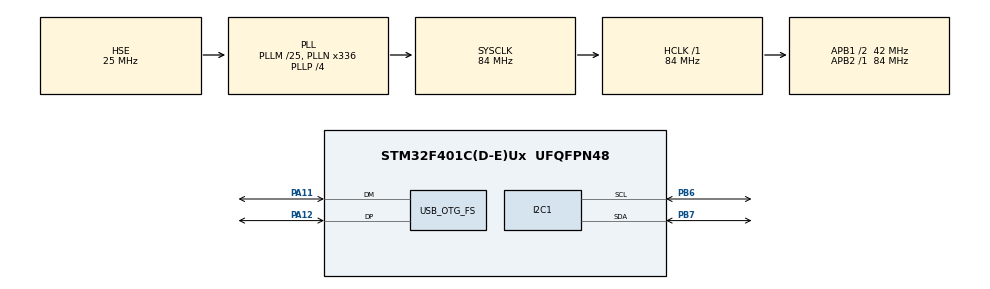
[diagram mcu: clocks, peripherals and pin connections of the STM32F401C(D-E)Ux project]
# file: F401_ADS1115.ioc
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Mcu.Family=STM32F4
Mcu.Name=STM32F401C(D-E)Ux
Mcu.Package=UFQFPN48
NVIC.OTG_FS_IRQn=true\:0\:0\:false\:false\:true\:false\:true\:true
NVIC.PriorityGroup=NVIC_PRIORITYGROUP_4
PA11.Mode=Device_Only
PA11.Signal=USB_OTG_FS_DM
PA12.Mode=Device_Only
PA12.Signal=USB_OTG_FS_DP
PB6.GPIO_Pu=GPIO_PULLUP
PB6.Mode=I2C
PB6.Signal=I2C1_SCL
PB7.GPIO_Pu=GPIO_PULLUP
PB7.Mode=I2C
PB7.Signal=I2C1_SDA
PH0\ -\ OSC_IN.Mode=HSE-External-Oscillator
PH0\ -\ OSC_IN.Signal=RCC_OSC_IN
PH1\ -\ OSC_OUT.Mode=HSE-External-Oscillator
PH1\ -\ OSC_OUT.Signal=RCC_OSC_OUT
ProjectManager.HeapSize=0x800
ProjectManager.StackSize=0x400
ProjectManager.TargetToolchain=Makefile
RCC.48MHZClocksFreq_Value=48000000
RCC.AHBFreq_Value=84000000
RCC.APB1CLKDivider=RCC_HCLK_DIV2
RCC.APB1Freq_Value=42000000
RCC.APB1TimFreq_Value=84000000
RCC.APB2Freq_Value=84000000
RCC.APB2TimFreq_Value=84000000
RCC.CortexFreq_Value=84000000
RCC.HCLKFreq_Value=84000000
RCC.HSE_VALUE=25000000
RCC.HSI_VALUE=16000000
RCC.LSE_VALUE=32768
RCC.PLLM=25
RCC.PLLN=336
RCC.PLLP=RCC_PLLP_DIV4
RCC.PLLQ=7
RCC.SYSCLKFreq_VALUE=84000000
RCC.SYSCLKSource=RCC_SYSCLKSOURCE_PLLCLK
RCC.VCOOutputFreq_Value=336000000
USB_DEVICE.CLASS_NAME_FS=CDC
USB_DEVICE.VirtualMode-CDC_FS=Cdc
USB_DEVICE.VirtualModeFS=Cdc_FS
USB_OTG_FS.VirtualMode=Device_Only
VP_USB_DEVICE_VS_USB_DEVICE_CDC_FS.Mode=CDC_FS
board=custom

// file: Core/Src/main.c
/* USER CODE BEGIN Header */
/**
  ******************************************************************************
  * @file           : main.c
  * @brief          : Main program body
  ******************************************************************************
  * @attention
  *
  * Copyright (c) 2022 STMicroelectronics.
  * All rights reserved.
  *
  * This software is licensed under terms that can be found in the LICENSE file
  * in the root directory of this software component.
  * If no LICENSE file comes with this software, it is provided AS-IS.
  *
  ******************************************************************************
  */
/* USER CODE END Header */
#include "main.h"
#include "usb_device.h"

/* USER CODE BEGIN Includes */
#include "ads1115.h"
#include "string.h"
/* USER CODE END Includes */

I2C_HandleTypeDef hi2c1;

/* USER CODE BEGIN PV */
ADS1115 adc1;
/* USER CODE END PV */

void SystemClock_Config(void);
static void MX_GPIO_Init(void);
static void MX_I2C1_Init(void);

int main(void)
{

  /* MCU Configuration--------------------------------------------------------*/

  /* Reset of all peripherals, Initializes the Flash interface and the Systick. */
  HAL_Init();

  /* Configure the system clock */
  SystemClock_Config();

  /* Initialize all configured peripherals */
  MX_GPIO_Init();
  MX_I2C1_Init();
  MX_USB_DEVICE_Init();
  /* USER CODE BEGIN 2 */
  int64_t x = 0;

  adc1.address    = 0x48 <<  1;
  adc1.opStat     = ADS1115_OS_IDLE;
  adc1.inputMux 	= ADS1115_MUX_AINP0_GND;
  adc1.fullRange  = ADS1115_PGA_FSR_4V096;
  adc1.opMode     = ADS1115_MODE_SINGLE_CONV;
  adc1.sampleRate = ADS1115_DR_8SPS;
  adc1.compMode   = ADS1115_COMP_MODE_TRADITIONAL;
  adc1.compPol	  = ADS1115_COMP_POL_ACTIVE_LOW;
  adc1.compLatch	= ADS1115_COMP_LATCH_DISABLED;
  adc1.compQue	  = ADS1115_COMP_ALERT_PIN_DISABLED;

  ADS1115_Reset(&adc1);
  ADS1115_Init(&adc1);
  uint8_t buf[25] = {0};
  /* USER CODE END 2 */

  /* Infinite loop */
  while (1)
  {

    /* USER CODE BEGIN 3 */
    x = ADS1115_Get_Single_Conversion(&adc1, 0);
    sprintf(buf,"%d \r\n",x);
    CDC_Transmit_FS(buf, strlen(buf));
    memset(0,buf,sizeof(buf));
    HAL_Delay(2000);
  }
  /* USER CODE END 3 */
}

void SystemClock_Config(void)
{
  RCC_OscInitTypeDef RCC_OscInitStruct = {0};
  RCC_ClkInitTypeDef RCC_ClkInitStruct = {0};

  /** Configure the main internal regulator output voltage
  */
  __HAL_RCC_PWR_CLK_ENABLE();
  __HAL_PWR_VOLTAGESCALING_CONFIG(PWR_REGULATOR_VOLTAGE_SCALE2);

  /** Initializes the RCC Oscillators according to the specified parameters
  * in the RCC_OscInitTypeDef structure.
  */
  RCC_OscInitStruct.OscillatorType = RCC_OSCILLATORTYPE_HSE;
  RCC_OscInitStruct.HSEState = RCC_HSE_ON;
  RCC_OscInitStruct.PLL.PLLState = RCC_PLL_ON;
  RCC_OscInitStruct.PLL.PLLSource = RCC_PLLSOURCE_HSE;
  RCC_OscInitStruct.PLL.PLLM = 25;
  RCC_OscInitStruct.PLL.PLLN = 336;
  RCC_OscInitStruct.PLL.PLLP = RCC_PLLP_DIV4;
  RCC_OscInitStruct.PLL.PLLQ = 7;
  if (HAL_RCC_OscConfig(&RCC_OscInitStruct) != HAL_OK)
  {
    Error_Handler();
  }

  /** Initializes the CPU, AHB and APB buses clocks
  */
  RCC_ClkInitStruct.ClockType = RCC_CLOCKTYPE_HCLK|RCC_CLOCKTYPE_SYSCLK
                              |RCC_CLOCKTYPE_PCLK1|RCC_CLOCKTYPE_PCLK2;
  RCC_ClkInitStruct.SYSCLKSource = RCC_SYSCLKSOURCE_PLLCLK;
  RCC_ClkInitStruct.AHBCLKDivider = RCC_SYSCLK_DIV1;
  RCC_ClkInitStruct.APB1CLKDivider = RCC_HCLK_DIV2;
  RCC_ClkInitStruct.APB2CLKDivider = RCC_HCLK_DIV1;

  if (HAL_RCC_ClockConfig(&RCC_ClkInitStruct, FLASH_LATENCY_2) != HAL_OK)
  {
    Error_Handler();
  }
}

static void MX_I2C1_Init(void)
{

  hi2c1.Instance = I2C1;
  hi2c1.Init.ClockSpeed = 100000;
  hi2c1.Init.DutyCycle = I2C_DUTYCYCLE_2;
  hi2c1.Init.OwnAddress1 = 0;
  hi2c1.Init.AddressingMode = I2C_ADDRESSINGMODE_7BIT;
  hi2c1.Init.DualAddressMode = I2C_DUALADDRESS_DISABLE;
  hi2c1.Init.OwnAddress2 = 0;
  hi2c1.Init.GeneralCallMode = I2C_GENERALCALL_DISABLE;
  hi2c1.Init.NoStretchMode = I2C_NOSTRETCH_DISABLE;
  if (HAL_I2C_Init(&hi2c1) != HAL_OK)
  {
    Error_Handler();
  }

}

static void MX_GPIO_Init(void)
{

  /* GPIO Ports Clock Enable */
  __HAL_RCC_GPIOH_CLK_ENABLE();
  __HAL_RCC_GPIOA_CLK_ENABLE();
  __HAL_RCC_GPIOB_CLK_ENABLE();

}

void Error_Handler(void)
{
  __disable_irq();
  while (1)
  {
  }
}
